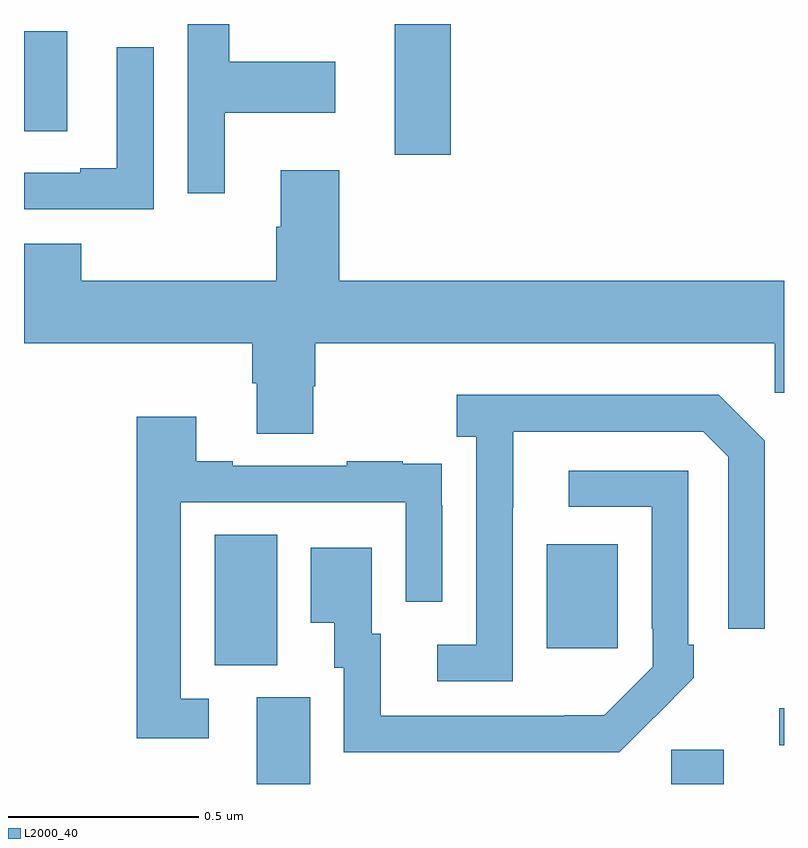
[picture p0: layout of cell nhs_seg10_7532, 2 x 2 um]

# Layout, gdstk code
import gdstk
lib = gdstk.Library(unit=1e-6, precision=1e-09)
def R(c, l, rs):  # rectangles x0, y0, x1, y1
    for r in rs: c.add(gdstk.rectangle(r[:2], r[2:], *l))
def P(c, l, *ps):  # polygons
    for p in ps: c.add(gdstk.Polygon(p, *l))
L2000_40 = (2000, 40)

nhs_seg10_7532 = lib.new_cell('nhs_seg10_7532')
R(nhs_seg10_7532, L2000_40, [(205.613,1288.5,205.753,1288.728), (206.703,1288.5,206.842,1288.59), (206.988,1288.602,207,1288.699), (205.502,1288.813,205.666,1289.156), (206.375,1288.857,206.563,1289.131), (205.976,1290.156,206.123,1290.5), (205,1290.218,205.114,1290.481)])
P(nhs_seg10_7532, L2000_40, [(205.528,1290.266),(205.819,1290.266),(205.819,1290.401),(205.54,1290.401),(205.54,1290.5),(205.431,1290.5),(205.431,1290.054),(205.528,1290.054)],
  [(205.341,1290.439),(205.244,1290.439),(205.244,1290.121),(205.148,1290.121),(205.148,1290.108),(205,1290.108),(205,1290.012),(205.341,1290.012)],
  [(205.761,1289.547),(205.766,1289.547),(205.766,1289.66),(206.976,1289.66),(206.976,1289.529),(207,1289.529),(207,1289.824),(205.829,1289.824),(205.829,1290.115),(205.676,1290.115),(205.676,1289.966),(205.664,1289.966),(205.664,1289.824),(205.151,1289.824),(205.151,1289.922),(205,1289.922),(205,1289.66),(205.601,1289.66),(205.601,1289.554),(205.613,1289.554),(205.613,1289.422),(205.761,1289.422)],
  [(206.286,1289.227),(206.287,1289.227),(206.287,1289.427),(206.787,1289.427),(206.853,1289.361),(206.853,1288.908),(206.949,1288.908),(206.949,1289.403),(206.828,1289.524),(206.139,1289.524),(206.139,1289.414),(206.19,1289.414),(206.19,1288.866),(206.088,1288.866),(206.088,1288.77),(206.286,1288.77)],
  [(205.486,1288.725),(205.413,1288.725),(205.413,1289.241),(206.004,1289.241),(206.004,1288.98),(206.1,1288.98),(206.1,1289.234),(206.099,1289.234),(206.099,1289.343),(205.997,1289.343),(205.997,1289.35),(205.849,1289.35),(205.849,1289.337),(205.549,1289.337),(205.549,1289.35),(205.453,1289.35),(205.453,1289.467),(205.297,1289.467),(205.297,1288.62),(205.486,1288.62)],
  [(206.657,1288.675),(206.658,1288.674),(206.763,1288.779),(206.763,1288.867),(206.748,1288.867),(206.748,1289.325),(206.433,1289.325),(206.433,1289.229),(206.652,1289.229),(206.652,1288.909),(206.655,1288.909),(206.655,1288.809),(206.527,1288.681),(206.423,1288.681),(206.423,1288.68),(205.939,1288.68),(205.939,1288.896),(205.915,1288.896),(205.915,1289.122),(205.754,1289.122),(205.754,1288.925),(205.817,1288.925),(205.817,1288.806),(205.842,1288.806),(205.842,1288.584),(206.566,1288.584)])

lib.write_gds('nhs_seg10_7532.gds')
